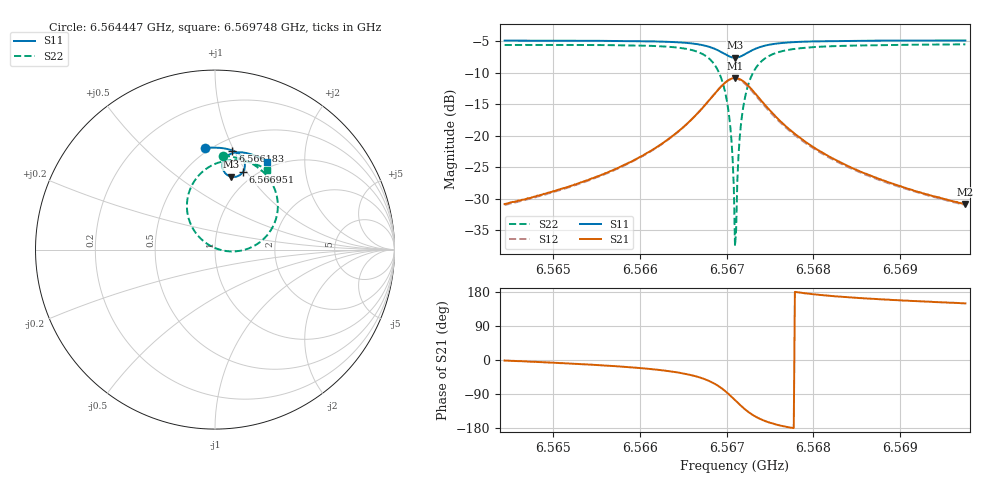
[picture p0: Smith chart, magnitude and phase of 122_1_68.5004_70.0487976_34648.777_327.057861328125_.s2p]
#  HZ  S  RI  R  50.00
! Rohde & Schwarz Vector Network Analyzer
! Rohde-Schwarz,ZNB20-2Port,1311601062101988,3.16
! Created: UTC 3/20/2024, 5:09:09 PM
! freq[Hz]  re:S11  im:S11  re:S21  im:S21  re:S12  im:S12  re:S22  im:S22
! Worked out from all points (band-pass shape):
!   401 points, 6.564447 GHz to 6.569748 GHz, reference 50 ohm
!   highest |S21| = -10.83 dB at 6.567097 GHz (marker M1); lowest = -30.8 dB at 6.569748 GHz (marker M2)
!   |S21| within 3 dB of the highest: 6.566833 GHz to 6.567363 GHz (530.5 kHz wide, 0.00808 % of centre)
!   lowest |S11| = -7.6 dB at 6.567097 GHz (marker M3), VSWR 2.43, Z = 41.7 + j40.9 ohm
!   |S11| at or under -10 dB: nowhere
!   |S22| runs from -37.5 to -5.5 dB; largest |S21 - S12| = 0.014
!   S11 on the Smith chart (normalised r, x): 6.564447 GHz: 0.47, +0.79; 6.566183 GHz: 0.61, +0.99; 6.566951 GHz: 0.88, +0.95; 6.569748 GHz: 0.91, +1.32
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6.5644466e9  -0.056 0.5662  0.0287 -0.000678  0.0282 -0.00114  0.044 0.5237
6.5653345e9  0.0171 0.5676  0.0421 -0.00825  0.0413 -0.0088  0.1291 0.5094
6.5661826e9  0.0972 0.5521  0.0724 -0.0341  0.0715 -0.035  0.2427 0.455
6.5662224e9  0.1016 0.5504  0.075 -0.0368  0.0738 -0.0376  0.2498 0.4492
6.5665272e9  0.1372 0.5293  0.0974 -0.0724  0.0958 -0.0738  0.3117 0.3795
6.5667392e9  0.1617 0.4958  0.1104 -0.1307  0.1078 -0.1333  0.3489 0.2669
6.5668585e9  0.1664 0.4625  0.0997 -0.1888  0.0949 -0.1923  0.3347 0.1562
6.5669513e9  0.1538 0.4302  0.0607 -0.244  0.0524 -0.2471  0.2644 0.0531
6.5670308e9  0.1245 0.4082  -0.00641 -0.2785  -0.0182 -0.2778  0.1406 -0.0065
6.5670573e9  0.1112 0.4052  -0.0346 -0.2819  -0.047 -0.2792  0.0897 -0.0104
6.5670838e9  0.0974 0.405  -0.0638 -0.2797  -0.0761 -0.2748  0.0377 -0.0035
6.5670971e9  0.0904 0.4061  -0.0783 -0.2765  -0.0902 -0.2705  0.0127 0.00392
6.5671103e9  0.0837 0.408  -0.0924 -0.2718  -0.1039 -0.2648  -0.0116 0.0139
6.5671236e9  0.0772 0.4106  -0.1058 -0.2657  -0.1169 -0.2578  -0.0346 0.0261
6.5671501e9  0.0653 0.418  -0.1301 -0.25  -0.1397 -0.2404  -0.0753 0.057
6.5671898e9  0.0519 0.4324  -0.1589 -0.2203  -0.1656 -0.2091  -0.1207 0.1128
6.5672428e9  0.0425 0.4546  -0.1807 -0.1763  -0.1836 -0.1646  -0.1516 0.1931
6.5673091e9  0.0425 0.4807  -0.1867 -0.1256  -0.1864 -0.1154  -0.1534 0.2818
6.5675476e9  0.08 0.53  -0.1435 -0.0282  -0.1403 -0.0239  -0.0552 0.4455
6.567985e9  0.143 0.5422  -0.082 0.00895  -0.08 0.0101  0.0828 0.4977
6.5688729e9  0.2266 0.5221  -0.0398 0.0152  -0.0388 0.0156  0.2133 0.4805
6.5697475e9  0.2916 0.4906  -0.0247 0.0146  -0.0242 0.0147  0.2911 0.4452
